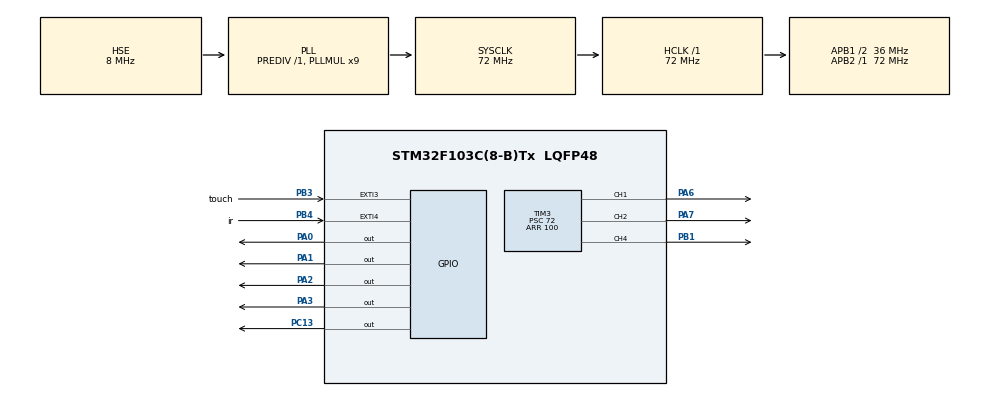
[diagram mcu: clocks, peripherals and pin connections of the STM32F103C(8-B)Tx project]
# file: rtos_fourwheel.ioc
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Mcu.Family=STM32F1
Mcu.Name=STM32F103C(8-B)Tx
Mcu.Package=LQFP48
NVIC.EXTI3_IRQn=true\:6\:0\:true\:false\:true\:true\:true\:true
NVIC.EXTI4_IRQn=true\:7\:0\:true\:false\:true\:true\:true\:true
NVIC.PriorityGroup=NVIC_PRIORITYGROUP_4
NVIC.TIM1_UP_IRQn=true\:15\:0\:false\:false\:true\:false\:true\:true
NVIC.TimeBase=TIM1_UP_IRQn
NVIC.TimeBaseIP=TIM1
PA0-WKUP.Signal=GPIO_Output
PA1.Signal=GPIO_Output
PA13.Mode=Serial_Wire
PA13.Signal=SYS_JTMS-SWDIO
PA14.Mode=Serial_Wire
PA14.Signal=SYS_JTCK-SWCLK
PA2.Signal=GPIO_Output
PA3.Signal=GPIO_Output
PA6.Signal=S_TIM3_CH1
PA7.Signal=S_TIM3_CH2
PB1.Signal=S_TIM3_CH4
PB3.GPIO_Label=touch
PB3.GPIO_PuPd=GPIO_PULLDOWN
PB3.Signal=GPXTI3
PB4.GPIO_Label=ir
PB4.GPIO_ModeDefaultEXTI=GPIO_MODE_IT_FALLING
PB4.GPIO_PuPd=GPIO_PULLUP
PB4.Signal=GPXTI4
PC13-TAMPER-RTC.Signal=GPIO_Output
PD0-OSC_IN.Mode=HSE-External-Oscillator
PD0-OSC_IN.Signal=RCC_OSC_IN
PD1-OSC_OUT.Mode=HSE-External-Oscillator
PD1-OSC_OUT.Signal=RCC_OSC_OUT
ProjectManager.HeapSize=0x200
ProjectManager.StackSize=0x400
ProjectManager.TargetToolchain=STM32CubeIDE
RCC.AHBFreq_Value=72000000
RCC.APB1CLKDivider=RCC_HCLK_DIV2
RCC.APB1Freq_Value=36000000
RCC.APB1TimFreq_Value=72000000
RCC.APB2Freq_Value=72000000
RCC.APB2TimFreq_Value=72000000
RCC.HCLKFreq_Value=72000000
RCC.PLLMUL=RCC_PLL_MUL9
RCC.PLLSourceVirtual=RCC_PLLSOURCE_HSE
RCC.SYSCLKFreq_VALUE=72000000
RCC.SYSCLKSource=RCC_SYSCLKSOURCE_PLLCLK
RCC.USBFreq_Value=72000000
SH.S_TIM3_CH1.0=TIM3_CH1,PWM Generation1 CH1
SH.S_TIM3_CH2.0=TIM3_CH2,PWM Generation2 CH2
SH.S_TIM3_CH4.0=TIM3_CH4,PWM Generation4 CH4
TIM3.Channel-PWM\ Generation1\ CH1=TIM_CHANNEL_1
TIM3.Channel-PWM\ Generation2\ CH2=TIM_CHANNEL_2
TIM3.Channel-PWM\ Generation4\ CH4=TIM_CHANNEL_4
TIM3.Period=100
TIM3.Prescaler=72
VP_SYS_VS_tim1.Mode=TIM1
board=custom

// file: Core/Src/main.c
/* USER CODE BEGIN Header */
/**
  ******************************************************************************
  * @file           : main.c
  * @brief          : Main program body
  ******************************************************************************
  * @attention
  *
  * Copyright (c) 2025 STMicroelectronics.
  * All rights reserved.
  *
  * This software is licensed under terms that can be found in the LICENSE file
  * in the root directory of this software component.
  * If no LICENSE file comes with this software, it is provided AS-IS.
  *
  ******************************************************************************
  */
/* USER CODE END Header */
#include "main.h"

/* USER CODE BEGIN Includes */
#include "FreeRTOS.h"
#include "task.h"
#include "queue.h"
/* USER CODE END Includes */

/* USER CODE BEGIN PTD */

typedef enum{
	Forward,
	Backward,
	Right,
	Left,
	Stop
}edirection;
edirection direction = Forward;

typedef struct {
	edirection dir;
    int speed;
} motor_data;

/* USER CODE END PTD */

TIM_HandleTypeDef htim3;

void SystemClock_Config(void);
static void MX_GPIO_Init(void);
static void MX_TIM3_Init(void);
/* USER CODE BEGIN PFP */

void task1_handler(void *pvparameter) ;
void motor_handler(void *pvparameter) ;

TaskHandle_t task1_handle;
TaskHandle_t motor_handle;
QueueHandle_t qMotordataHandle;
/* USER CODE END PFP */

int main(void)
{

  /* USER CODE BEGIN 1 */
  BaseType_t status ;
  /* USER CODE END 1 */

  /* MCU Configuration--------------------------------------------------------*/

  /* Reset of all peripherals, Initializes the Flash interface and the Systick. */
  HAL_Init();

  /* Configure the system clock */
  SystemClock_Config();

  /* Initialize all configured peripherals */
  MX_GPIO_Init();
  MX_TIM3_Init();
  /* USER CODE BEGIN 2 */
	HAL_TIM_PWM_Start(&htim3, TIM_CHANNEL_1); // A  //PA6
	HAL_TIM_PWM_Start(&htim3, TIM_CHANNEL_4); // B  //PB1
	TIM3->CCR1=0;
	TIM3->CCR4=0;
  status = xTaskCreate(task1_handler, "task1", 100, NULL, 2, &task1_handle) ;
  configASSERT(status == pdPASS);
  status = xTaskCreate(motor_handler, "task1", 200, NULL, 3, &motor_handle) ;
  configASSERT(status == pdPASS);
  status = xTaskCreate(ir_handler, "task1", 200, NULL, 3, &ir_handle) ;
  configASSERT(status == pdPASS);
  status = xTaskCreate(motor_handler, "task1", 200, NULL, 3, &motor_handle) ;
  configASSERT(status == pdPASS);

  qMotordataHandle=xQueueCreate( 1,sizeof(motor_data) );
  vTaskStartScheduler();
  /* USER CODE END 2 */

  /* Infinite loop */
  while (1)
  {

  }
}

void SystemClock_Config(void)
{
  RCC_OscInitTypeDef RCC_OscInitStruct = {0};
  RCC_ClkInitTypeDef RCC_ClkInitStruct = {0};

  /** Initializes the RCC Oscillators according to the specified parameters
  * in the RCC_OscInitTypeDef structure.
  */
  RCC_OscInitStruct.OscillatorType = RCC_OSCILLATORTYPE_HSE;
  RCC_OscInitStruct.HSEState = RCC_HSE_ON;
  RCC_OscInitStruct.HSEPredivValue = RCC_HSE_PREDIV_DIV1;
  RCC_OscInitStruct.HSIState = RCC_HSI_ON;
  RCC_OscInitStruct.PLL.PLLState = RCC_PLL_ON;
  RCC_OscInitStruct.PLL.PLLSource = RCC_PLLSOURCE_HSE;
  RCC_OscInitStruct.PLL.PLLMUL = RCC_PLL_MUL9;
  if (HAL_RCC_OscConfig(&RCC_OscInitStruct) != HAL_OK)
  {
    Error_Handler();
  }

  /** Initializes the CPU, AHB and APB buses clocks
  */
  RCC_ClkInitStruct.ClockType = RCC_CLOCKTYPE_HCLK|RCC_CLOCKTYPE_SYSCLK
                              |RCC_CLOCKTYPE_PCLK1|RCC_CLOCKTYPE_PCLK2;
  RCC_ClkInitStruct.SYSCLKSource = RCC_SYSCLKSOURCE_PLLCLK;
  RCC_ClkInitStruct.AHBCLKDivider = RCC_SYSCLK_DIV1;
  RCC_ClkInitStruct.APB1CLKDivider = RCC_HCLK_DIV2;
  RCC_ClkInitStruct.APB2CLKDivider = RCC_HCLK_DIV1;

  if (HAL_RCC_ClockConfig(&RCC_ClkInitStruct, FLASH_LATENCY_2) != HAL_OK)
  {
    Error_Handler();
  }
}

static void MX_TIM3_Init(void)
{

  TIM_MasterConfigTypeDef sMasterConfig = {0};
  TIM_OC_InitTypeDef sConfigOC = {0};

  htim3.Instance = TIM3;
  htim3.Init.Prescaler = 72;
  htim3.Init.CounterMode = TIM_COUNTERMODE_UP;
  htim3.Init.Period = 100;
  htim3.Init.ClockDivision = TIM_CLOCKDIVISION_DIV1;
  htim3.Init.AutoReloadPreload = TIM_AUTORELOAD_PRELOAD_DISABLE;
  if (HAL_TIM_PWM_Init(&htim3) != HAL_OK)
  {
    Error_Handler();
  }
  sMasterConfig.MasterOutputTrigger = TIM_TRGO_RESET;
  sMasterConfig.MasterSlaveMode = TIM_MASTERSLAVEMODE_DISABLE;
  if (HAL_TIMEx_MasterConfigSynchronization(&htim3, &sMasterConfig) != HAL_OK)
  {
    Error_Handler();
  }
  sConfigOC.OCMode = TIM_OCMODE_PWM1;
  sConfigOC.Pulse = 0;
  sConfigOC.OCPolarity = TIM_OCPOLARITY_HIGH;
  sConfigOC.OCFastMode = TIM_OCFAST_DISABLE;
  if (HAL_TIM_PWM_ConfigChannel(&htim3, &sConfigOC, TIM_CHANNEL_1) != HAL_OK)
  {
    Error_Handler();
  }
  if (HAL_TIM_PWM_ConfigChannel(&htim3, &sConfigOC, TIM_CHANNEL_2) != HAL_OK)
  {
    Error_Handler();
  }
  if (HAL_TIM_PWM_ConfigChannel(&htim3, &sConfigOC, TIM_CHANNEL_4) != HAL_OK)
  {
    Error_Handler();
  }
  HAL_TIM_MspPostInit(&htim3);

}

static void MX_GPIO_Init(void)
{
  GPIO_InitTypeDef GPIO_InitStruct = {0};

  /* GPIO Ports Clock Enable */
  __HAL_RCC_GPIOC_CLK_ENABLE();
  __HAL_RCC_GPIOD_CLK_ENABLE();
  __HAL_RCC_GPIOA_CLK_ENABLE();
  __HAL_RCC_GPIOB_CLK_ENABLE();

  /*Configure GPIO pin Output Level */
  HAL_GPIO_WritePin(GPIOC, GPIO_PIN_13, GPIO_PIN_RESET);

  /*Configure GPIO pin Output Level */
  HAL_GPIO_WritePin(GPIOA, GPIO_PIN_0|GPIO_PIN_1|GPIO_PIN_2|GPIO_PIN_3, GPIO_PIN_RESET);

  /*Configure GPIO pin : PC13 */
  GPIO_InitStruct.Pin = GPIO_PIN_13;
  GPIO_InitStruct.Mode = GPIO_MODE_OUTPUT_PP;
  GPIO_InitStruct.Pull = GPIO_NOPULL;
  GPIO_InitStruct.Speed = GPIO_SPEED_FREQ_LOW;
  HAL_GPIO_Init(GPIOC, &GPIO_InitStruct);

  /*Configure GPIO pins : PA0 PA1 PA2 PA3 */
  GPIO_InitStruct.Pin = GPIO_PIN_0|GPIO_PIN_1|GPIO_PIN_2|GPIO_PIN_3;
  GPIO_InitStruct.Mode = GPIO_MODE_OUTPUT_PP;
  GPIO_InitStruct.Pull = GPIO_NOPULL;
  GPIO_InitStruct.Speed = GPIO_SPEED_FREQ_LOW;
  HAL_GPIO_Init(GPIOA, &GPIO_InitStruct);

  /*Configure GPIO pin : touch_Pin */
  GPIO_InitStruct.Pin = touch_Pin;
  GPIO_InitStruct.Mode = GPIO_MODE_IT_RISING;
  GPIO_InitStruct.Pull = GPIO_PULLDOWN;
  HAL_GPIO_Init(touch_GPIO_Port, &GPIO_InitStruct);

  /*Configure GPIO pin : ir_Pin */
  GPIO_InitStruct.Pin = ir_Pin;
  GPIO_InitStruct.Mode = GPIO_MODE_IT_FALLING;
  GPIO_InitStruct.Pull = GPIO_PULLUP;
  HAL_GPIO_Init(ir_GPIO_Port, &GPIO_InitStruct);

  /* EXTI interrupt init*/
  HAL_NVIC_SetPriority(EXTI3_IRQn, 6, 0);
  HAL_NVIC_EnableIRQ(EXTI3_IRQn);

  HAL_NVIC_SetPriority(EXTI4_IRQn, 7, 0);
  HAL_NVIC_EnableIRQ(EXTI4_IRQn);

}

/* USER CODE BEGIN 4 */
void task1_handler(void *pvparameter){
	motor_data data;
	while(1){
		data.dir=Forward;
		data.speed=100;
		xQueueSend(qMotordataHandle,(void *)&data,portMAX_DELAY);
	}
}
void motor_handler (void *pvparameter){
	motor_data data;
	while(1){
		xQueueReceive(qMotordataHandle,(void *)&data, portMAX_DELAY);
		if(data.dir == Forward){
			HAL_GPIO_WritePin(GPIOA, GPIO_PIN_0, 1);
			HAL_GPIO_WritePin(GPIOA, GPIO_PIN_1, 0);
			HAL_GPIO_WritePin(GPIOA, GPIO_PIN_2, 1);
			HAL_GPIO_WritePin(GPIOA, GPIO_PIN_3, 0);
			TIM3->CCR1=100;
			TIM3->CCR4=100;
		}

	}
}
/* USER CODE END 4 */

void HAL_TIM_PeriodElapsedCallback(TIM_HandleTypeDef *htim)
{
  if (htim->Instance == TIM1)
  {
    HAL_IncTick();
  }
}

void Error_Handler(void)
{
  __disable_irq();
  while (1)
  {
  }
}
